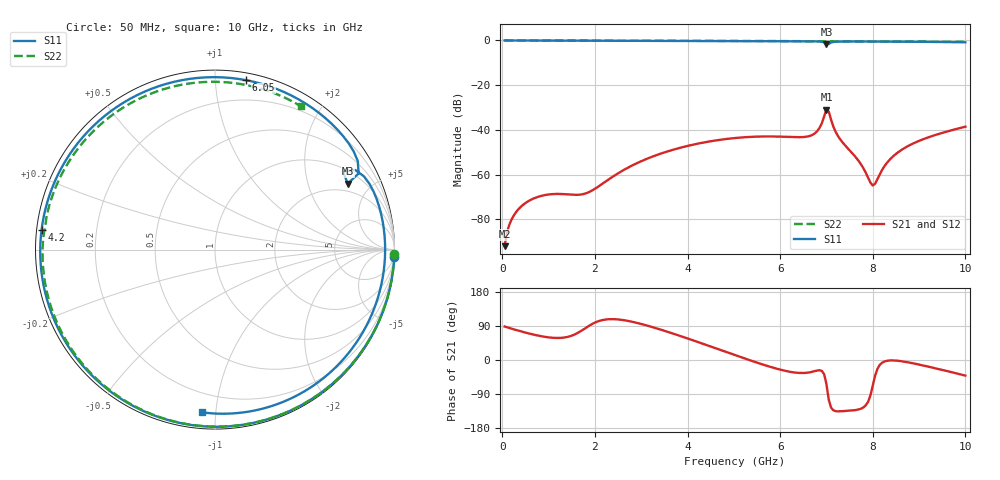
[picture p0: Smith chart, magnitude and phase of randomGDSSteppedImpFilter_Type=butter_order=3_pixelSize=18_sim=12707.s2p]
! freq	dB(S11)	phase(S11)	dB(S12)	phase(S12)
!  dB(S21)	phase(S21)	dB(S22)	phase(S22)
!S-par simulation data
#  GHz  S  DB  R 50
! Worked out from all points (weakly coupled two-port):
!   200 points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, 50 MHz to 10 GHz, reference 50 ohm
!   highest |S21| = -30.89 dB at 7 GHz (marker M1); lowest = -92.0 dB at 50 MHz (marker M2)
!   lowest |S11| = -1.7 dB at 7 GHz (marker M3), VSWR 10.51, Z = 78.1 + j181 ohm
!   |S11| at or under -10 dB: nowhere
!   |S22| runs from -0.6 to 0.0 dB; largest |S21 - S12| = 0
!   S11 on the Smith chart (normalised r, x): 50 MHz: 0, -50; 4.2 GHz: 0.01, +0.06; 6.05 GHz: 0.05, +1.20; 10 GHz: 0.09, -0.92
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0.05  -0.00 -2.3  -91.97 88.3  -91.97 88.3  -0.00 -1.4
0.2  -0.01 -9.1  -80.04 82.7  -80.04 82.7  -0.01 -5.6
0.45  -0.03 -20.4  -73.46 74.0  -73.46 74.0  -0.02 -12.6
0.8  -0.05 -36.2  -69.72 63.7  -69.72 63.7  -0.03 -22.4
1.75  -0.10 -78.2  -68.68 80.4  -68.68 80.4  -0.06 -48.5
2.55  -0.14 -112.9  -58.77 106.4  -58.77 106.4  -0.09 -69.8
3.4  -0.19 -150.0  -50.74 81.0  -50.74 81.0  -0.12 -91.8
4.2  -0.24 173.6  -46.23 48.5  -46.23 48.5  -0.16 -112.2
5.05  -0.30 132.1  -43.58 11.9  -43.58 11.9  -0.21 -133.9
5.55  -0.33 106.3  -42.96 -9.0  -42.96 -9.0  -0.24 -146.9
6.05  -0.36 79.7  -43.03 -26.9  -43.03 -26.9  -0.28 -160.4
6.7  -0.40 44.3  -42.18 -30.9  -42.18 -30.9  -0.34 -178.7
6.85  -0.47 35.3  -39.10 -27.0  -39.10 -27.0  -0.36 176.9
7  -1.66 26.4  -30.89 -64.2  -30.89 -64.2  -0.41 172.4
7.1  -0.93 29.6  -35.48 -125.8  -35.48 -125.8  -0.39 169.5
7.25  -0.53 20.2  -42.77 -135.5  -42.77 -135.5  -0.40 164.8
7.7  -0.47 -2.6  -54.01 -130.3  -54.01 -130.3  -0.44 150.2
8  -0.48 -16.4  -64.85 -67.9  -64.85 -67.9  -0.47 139.9
8.35  -0.51 -31.5  -53.66 -1.3  -53.66 -1.3  -0.51 127.3
8.7  -0.55 -45.9  -47.92 -4.8  -47.92 -4.8  -0.54 114.0
9.2  -0.63 -65.2  -43.31 -17.5  -43.31 -17.5  -0.58 93.8
10  -0.82 -94.7  -38.54 -41.2  -38.54 -41.2  -0.62 59.2
